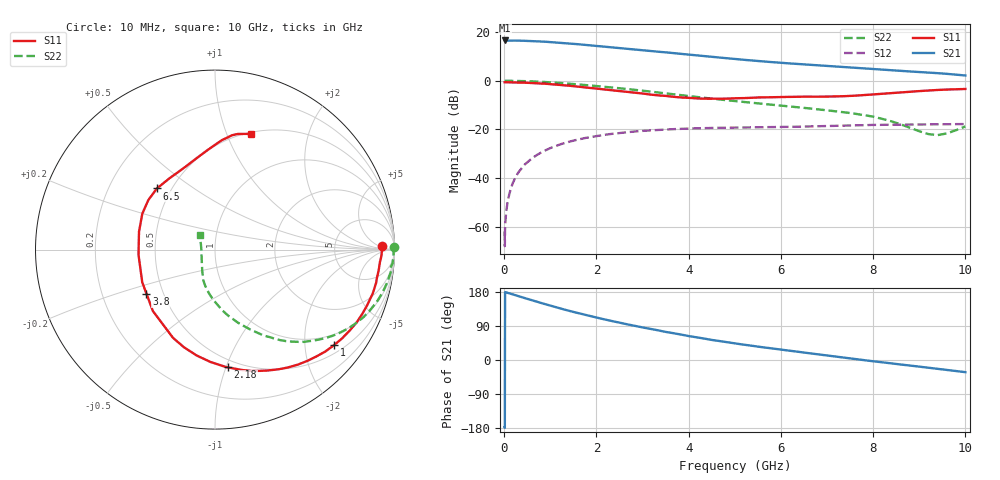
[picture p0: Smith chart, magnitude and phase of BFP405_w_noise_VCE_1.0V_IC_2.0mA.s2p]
! Infineon Technologies  Discrete & RF Semiconductors
! BFP405
! VCE =  1.0 V,  IC =  2.0 mA
! Common Emitter S-Parameters:  Jan 2016
# GHz  S  MA  R  50
!  f  S11  S21  S12  S22
! GHz  MAG  ANG  MAG  ANG  MAG  ANG  MAG  ANG
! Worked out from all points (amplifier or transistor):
!   233 points, 10 MHz to 10 GHz, reference 50 ohm
!   highest |S21| = 16.5 dB at 10 MHz (marker M1)
!   |S21| within 3 dB of that: start of sweep to 2.427 GHz
!   unconditionally stable (mu >= 1): 4.295 GHz to end of sweep
!   at 200 MHz: K = 0.04, MSG = 29.0 dB, |S12| = -41.5 dB
!   at 1.74 GHz: K = 0.34, MSG = 19.2 dB, |S12| = -23.6 dB
!   at 10 GHz: K = 1.73, MAG = 5.0 dB, |S12| = -17.8 dB
!   lowest NFmin = 0.86 dB at 900 MHz
!   S11 on the Smith chart (normalised r, x): 10 MHz: 25, +7; 1 GHz: 0.70, -2.68; 2.18 GHz: 0.44, -1.01; 3.8 GHz: 0.40, -0.25; 6.5 GHz: 0.42, +0.37; 10 GHz: 0.52, +1.22
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0.01  0.9281 1.3  6.692 -177.3  0.0008 -37.2  1 0.7
0.015  0.9288 0.3  6.645 -179.1  0.0004 42.4  0.9958 0.4
0.02  0.9298 -0.6  6.604 179.1  0.001 94.3  0.9916 0.0
0.045  0.9288 -1.8  6.599 178.6  0.002 81.5  0.9945 -0.7
0.09  0.9232 -3.5  6.641 176.6  0.0038 86.6  0.9951 -1.8
0.24  0.9162 -9.3  6.657 171.1  0.0101 85.1  0.9852 -5.5
0.5  0.9045 -19.4  6.566 161.5  0.021 79.6  0.9756 -11.1
0.78  0.8775 -30.3  6.382 151.2  0.0326 73.4  0.9506 -17.2
1  0.8501 -38.8  6.204 143.4  0.0412 68.5  0.9253 -21.8
1.34  0.799 -51.8  5.872 132.0  0.0535 61.2  0.8782 -28.6
1.68  0.7423 -64.8  5.515 121.3  0.0643 54.4  0.8264 -34.7
2.18  0.66 -83.8  4.982 107.0  0.0774 45.2  0.7484 -42.6
2.8  0.5708 -107.7  4.396 91.0  0.09 35.2  0.6536 -51.5
3.4  0.4933 -131.0  3.885 76.7  0.0984 26.6  0.5639 -59.1
3.8  0.4542 -147.2  3.574 67.9  0.1023 21.6  0.5093 -63.9
4.5  0.4271 -176.2  3.096 53.0  0.1071 14.0  0.4274 -72.5
5.1  0.4364 164.1  2.734 42.1  0.1091 8.8  0.3729 -79.0
6.5  0.47 133.5  2.163 19.6  0.1142 0.2  0.2767 -92.5
6.8  0.4688 126.9  2.061 15.0  0.1158 -1.4  0.2582 -95.5
8.4  0.5572 94.1  1.633 -9.1  0.1246 -11.5  0.1458 -118.7
9.4  0.6444 81.5  1.426 -23.5  0.1273 -17.2  0.0763 179.9
10  0.6751 72.7  1.277 -32.1  0.1286 -20.1  0.1149 136.8
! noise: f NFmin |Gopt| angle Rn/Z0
0.9  0.86  0.58  15  0.42
1.8  1.21  0.46  27  0.37
2.4  1.43  0.38  38  0.36
3  1.47  0.38  52  0.33
4  1.69  0.25  80  0.26
5  2.05  0.21  114  0.21
